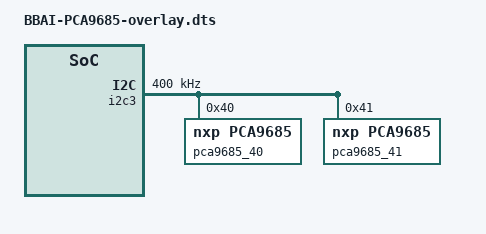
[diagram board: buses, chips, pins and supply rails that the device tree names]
/*
 * Device Tree Source for BeagleBone AI with PCA9685 PWM driver
 * This overlay configures the I2C bus and the PCA9685 PWM driver.
 * It assumes the PCA9685 is connected to I2C3 and uses the default I2C address.
 * Adjust the I2C address and GPIO pins as needed.
 */

/dts-v1/;
/plugin/;

/ {
    compatible = "ti,beaglebone-ai";

    fragment@0 {
        target = <&i2c3>;
        __overlay__ {
            status = "okay";
            clock-frequency = <400000>;
        };
    };

    fragment@1 {
        target = <&i2c3>;
        __overlay__ {
            pca9685_40: pca9685@40 {
                compatible = "nxp,pca9685";
                reg = <0x40>;
                #pwm-cells = <2>;
                status = "okay";
            };

            pca9685_41: pca9685@41 {
                compatible = "nxp,pca9685";
                reg = <0x41>;
                #pwm-cells = <2>;
                status = "okay";
            };
        };
    };
};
